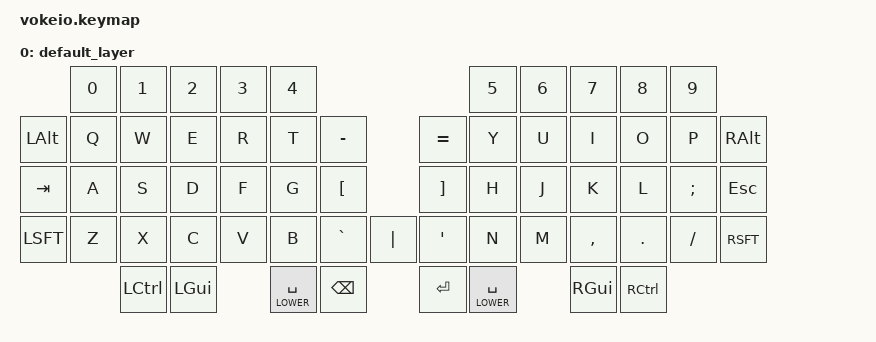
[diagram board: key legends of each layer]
#include <behaviors.dtsi>
#include <dt-bindings/zmk/keys.h>

#define DEFAULT   0
#define LOWER     1

/ {
	
	keymap {
		compatible = "zmk,keymap";

		default_layer {
            bindings = <
			
            &kp NUM_0    &kp NUM_1    &kp NUM_2    &kp NUM_3    &kp NUM_4                                              &kp NUM_5          &kp NUM_6    &kp NUM_7    &kp NUM_8    &kp NUM_9    
&kp LALT    &kp Q        &kp W        &kp E        &kp R        &kp T              &kp MINUS               &kp EQL     &kp Y              &kp U        &kp I        &kp O        &kp P        &kp RALT
&kp TAB     &kp A        &kp S        &kp D        &kp F        &kp G              &kp LBKT                &kp RBKT    &kp H              &kp J        &kp K        &kp L        &kp SCLN     &kp ESC
&kp LSFT    &kp Z        &kp X        &kp C        &kp V        &kp B              &kp GRAV    &kp PIPE    &kp QUOT    &kp N              &kp M        &kp CMMA     &kp DOT      &kp FSLH     &kp RSFT
                         &kp LCTL     &kp LGUI                  &lt LOWER SPACE    &kp BKSP                &kp RET     &lt LOWER SPACE                 &kp RGUI     &kp RCTL

			>;
		};
		
	};	

};


